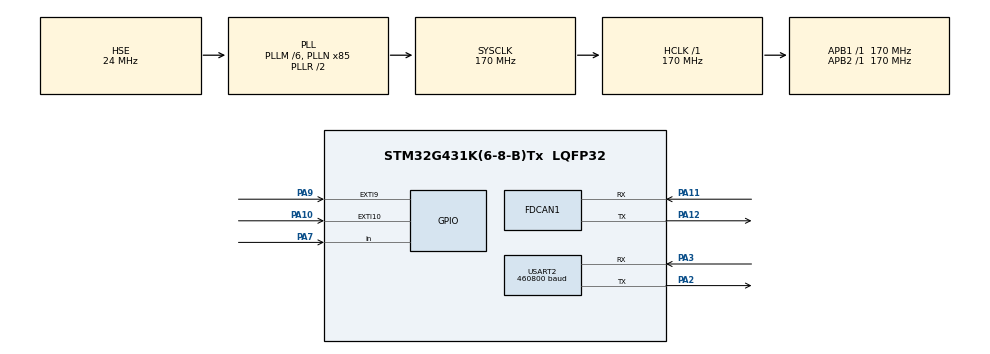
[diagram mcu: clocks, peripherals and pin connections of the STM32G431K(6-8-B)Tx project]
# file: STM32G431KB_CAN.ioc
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Dma.Request0=USART2_RX
Dma.Request1=USART2_TX
Dma.USART2_RX.0.Direction=DMA_PERIPH_TO_MEMORY
Dma.USART2_RX.0.EventEnable=DISABLE
Dma.USART2_RX.0.Instance=DMA1_Channel1
Dma.USART2_RX.0.MemDataAlignment=DMA_MDATAALIGN_BYTE
Dma.USART2_RX.0.MemInc=DMA_MINC_ENABLE
Dma.USART2_RX.0.Mode=DMA_CIRCULAR
Dma.USART2_RX.0.PeriphDataAlignment=DMA_PDATAALIGN_BYTE
Dma.USART2_RX.0.PeriphInc=DMA_PINC_DISABLE
Dma.USART2_RX.0.Polarity=HAL_DMAMUX_REQ_GEN_RISING
Dma.USART2_RX.0.Priority=DMA_PRIORITY_HIGH
Dma.USART2_RX.0.RequestNumber=1
Dma.USART2_RX.0.SignalID=NONE
Dma.USART2_RX.0.SyncEnable=DISABLE
Dma.USART2_RX.0.SyncPolarity=HAL_DMAMUX_SYNC_NO_EVENT
Dma.USART2_RX.0.SyncRequestNumber=1
Dma.USART2_RX.0.SyncSignalID=NONE
Dma.USART2_TX.1.Direction=DMA_MEMORY_TO_PERIPH
Dma.USART2_TX.1.EventEnable=DISABLE
Dma.USART2_TX.1.Instance=DMA1_Channel2
Dma.USART2_TX.1.MemDataAlignment=DMA_MDATAALIGN_BYTE
Dma.USART2_TX.1.MemInc=DMA_MINC_ENABLE
Dma.USART2_TX.1.Mode=DMA_NORMAL
Dma.USART2_TX.1.PeriphDataAlignment=DMA_PDATAALIGN_BYTE
Dma.USART2_TX.1.PeriphInc=DMA_PINC_DISABLE
Dma.USART2_TX.1.Polarity=HAL_DMAMUX_REQ_GEN_RISING
Dma.USART2_TX.1.Priority=DMA_PRIORITY_LOW
Dma.USART2_TX.1.RequestNumber=1
Dma.USART2_TX.1.SignalID=NONE
Dma.USART2_TX.1.SyncEnable=DISABLE
Dma.USART2_TX.1.SyncPolarity=HAL_DMAMUX_SYNC_NO_EVENT
Dma.USART2_TX.1.SyncRequestNumber=1
Dma.USART2_TX.1.SyncSignalID=NONE
FDCAN1.AutoRetransmission=ENABLE
FDCAN1.CalculateBaudRateNominal=999999
FDCAN1.CalculateTimeQuantumNominal=58.82352941176471
FDCAN1.DataTimeSeg1=1
FDCAN1.DataTimeSeg2=1
FDCAN1.NominalPrescaler=10
FDCAN1.NominalTimeSeg1=14
FDCAN1.StdFiltersNbr=28
FDCAN1.TxFifoQueueMode=FDCAN_TX_FIFO_OPERATION
Mcu.Family=STM32G4
Mcu.Name=STM32G431K(6-8-B)Tx
Mcu.Package=LQFP32
NVIC.DMA1_Channel1_IRQn=true\:2\:0\:true\:false\:true\:false\:true\:true
NVIC.DMA1_Channel2_IRQn=true\:2\:0\:true\:false\:true\:false\:true\:true
NVIC.EXTI15_10_IRQn=true\:3\:0\:true\:false\:true\:true\:true\:true
NVIC.EXTI9_5_IRQn=true\:3\:0\:true\:false\:true\:true\:true\:true
NVIC.FDCAN1_IT0_IRQn=true\:1\:0\:true\:false\:true\:true\:true\:true
NVIC.FDCAN1_IT1_IRQn=true\:1\:0\:true\:false\:true\:true\:true\:true
NVIC.FLASH_IRQn=true\:0\:0\:false\:false\:true\:true\:true\:true
NVIC.FPU_IRQn=true\:5\:0\:true\:false\:true\:true\:false\:true
NVIC.PriorityGroup=NVIC_PRIORITYGROUP_4
NVIC.RCC_IRQn=true\:0\:0\:false\:false\:true\:true\:false\:true
NVIC.USART2_IRQn=true\:2\:0\:true\:false\:true\:true\:true\:true
PA10.GPIO_ModeDefaultEXTI=GPIO_MODE_IT_FALLING
PA10.GPIO_PuPd=GPIO_PULLUP
PA10.Signal=GPXTI10
PA11.GPIO_PuPd=GPIO_PULLUP
PA11.GPIO_Speed=GPIO_SPEED_FREQ_HIGH
PA11.Mode=FDCAN_Activate
PA11.Signal=FDCAN1_RX
PA12.GPIO_PuPd=GPIO_PULLUP
PA12.GPIO_Speed=GPIO_SPEED_FREQ_HIGH
PA12.Mode=FDCAN_Activate
PA12.Signal=FDCAN1_TX
PA13.Mode=Serial_Wire
PA13.Signal=SYS_JTMS-SWDIO
PA14.Mode=Serial_Wire
PA14.Signal=SYS_JTCK-SWCLK
PA2.GPIO_Speed=GPIO_SPEED_FREQ_LOW
PA2.Mode=Asynchronous
PA2.Signal=USART2_TX
PA3.GPIO_PuPd=GPIO_PULLUP
PA3.GPIO_Speed=GPIO_SPEED_FREQ_HIGH
PA3.Mode=Asynchronous
PA3.Signal=USART2_RX
PA7.GPIO_PuPd=GPIO_PULLUP
PA7.Signal=GPIO_Input
PA9.GPIO_ModeDefaultEXTI=GPIO_MODE_IT_FALLING
PA9.GPIO_PuPd=GPIO_PULLUP
PA9.Signal=GPXTI9
PF0-OSC_IN.Mode=HSE-External-Oscillator
PF0-OSC_IN.Signal=RCC_OSC_IN
PF1-OSC_OUT.Mode=HSE-External-Oscillator
PF1-OSC_OUT.Signal=RCC_OSC_OUT
ProjectManager.HeapSize=0x600
ProjectManager.StackSize=0x900
ProjectManager.TargetToolchain=EWARM V8.50
RCC.ADC12Freq_Value=170000000
RCC.AHBFreq_Value=170000000
RCC.APB1Freq_Value=170000000
RCC.APB1TimFreq_Value=170000000
RCC.APB2Freq_Value=170000000
RCC.APB2TimFreq_Value=170000000
RCC.CortexFreq_Value=170000000
RCC.DATA_CACHE_ENABLE=0
RCC.EXTERNAL_CLOCK_VALUE=12288000
RCC.EnbaleCSS=true
RCC.HCLKFreq_Value=170000000
RCC.HSE_VALUE=24000000
RCC.HSI48_VALUE=48000000
RCC.HSI_VALUE=16000000
RCC.LSE_VALUE=32768
RCC.PLLM=RCC_PLLM_DIV6
RCC.PLLN=85
RCC.PLLSourceVirtual=RCC_PLLSOURCE_HSE
RCC.PREFETCH_ENABLE=1
RCC.SYSCLKFreq_VALUE=170000000
RCC.SYSCLKSource=RCC_SYSCLKSOURCE_PLLCLK
RCC.USBFreq_Value=170000000
RCC.VCOOutputFreq_Value=340000000
USART2.BaudRate=460800
USART2.FIFOMode=FIFOMODE_ENABLE
USART2.RXFIFOThreshold=RXFIFO_THRESHOLD_FULL
USART2.VirtualMode-Asynchronous=VM_ASYNC
VP_SYS_VS_DBSignals.Mode=DisableDeadBatterySignals
board=custom

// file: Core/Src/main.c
/* USER CODE BEGIN Header */
/**
******************************************************************************
* @file           : main.c
* @brief          : Main program body
******************************************************************************
* @attention
*
* Copyright (c) 2023 STMicroelectronics.
* All rights reserved.
*
* This software is licensed under terms that can be found in the LICENSE file
* in the root directory of this software component.
* If no LICENSE file comes with this software, it is provided AS-IS.
*
******************************************************************************
*/
/* USER CODE END Header */
#include "main.h"
#include "dma.h"
#include "fdcan.h"
#include "usart.h"
#include "gpio.h"

/* USER CODE BEGIN Includes */
#include "serial.h"
#include "utility.h"
//#include "CO_app_STM32.h"	// CANOpen STM32, route = C:\Users\jaesung\MRAS\GitHub\STM32\CANopenNode\CanOpenSTM32-master\CANopenNode_STM32
/* USER CODE END Includes */

/* USER CODE BEGIN PV */
uint8_t PDO_id_cnt			= 0;
uint8_t node_id;
int16_t sine_val		      	= 0;
Prot_info_t prot_info;

/* USER CODE END PV */

void SystemClock_Config(void);
/* USER CODE BEGIN PFP */
void setup(void);
void loop_sync(void);
void loop_async(void);
int16_t func_sin(uint32_t freq);
//void I2C_DMA_COMM();

double gear_ratio[4] 	= {-96.875, 96.875, 48.82, -48.82};

double period			= 2000.0;
double amp				= 50.0;
double gear_efficiency[4] 	= {1.05, 1.05, 1.1, 1.1};
double trq_offset[4]    	= {1.0, 1.0, 1.0, 1.0};
//double trq_offset[4]	= {0.0, 0.0, 0.0, 0.0};
double tp_degree[2]           = {0, 0};

bool UART_FLAG		 	= false;
bool QS_flag			= false;
bool NMT_FLAG			= true;
bool DS_FLAG			= false;
bool STATUS_FLAG		      = false;
bool SET_ANGLE_ZERO_FLAG 	= false;
bool ANGLE_FLAG			= false;
bool CLEAR_ERROR_FLAG		= false;
bool GET_SDO_FLAG			= false;
bool SET_SDO_FLAG			= false;
bool I2C_TRQ_FLAG			= false;
bool ERROR_FLAG			= false;
uint8_t I2C_FLAG			= false;

float theta_temp[2] = {0, }, torque_temp[2] = {0, }, coord_temp1[2] = {0, };

GPIO_PinState pin_state;
GPIO_PinState NMT_pin;
GPIO_PinState DS_pin;
uint32_t freq_cnt			= 0;
uint32_t tick 			= 0;	// async timer tick
uint8_t timer			= 0;	// async period

uint8_t id_temp 			= 0;
uint8_t length_temp 		= 0;
Obj_dict_t object 		= DEFAULT;
uint16_t object_sub 		= 0x00;
int32_t data_temp 		= 0;

NMT_state_t	NMT_state		= PRE;
DS_state_t	DS_state		= DV;

uint8_t txfifoemptycheck 	= 0;
uint8_t id_sum		 	= 0;
uint8_t id_cnt			= 0;
uint8_t status			= 0;

uint8_t EPOS4_CTRL_PERIOD	= 6; // 7ms
float error_res[2]		= {0.0, };

//////////////////////////////////////// I2C sensor variables
//uint8_t data1[6] = {0, };
////uint8_t data2[6] = {0, };
//uint8_t tx_buf1[6] = {(uint16_t)0x3d, };
//uint8_t tx_buf2[6] = {(uint16_t)0x3d, };
//uint16_t addr1 = 0x50 << 1;
//uint16_t addr2 = 0x51 << 1;
//typedef struct sense{
//  float roll;
//  float pitch;
//  float yaw;
//} Sen;?
//Sen sen1, sen2;
//bool state;
//uint32_t start_time;
//uint32_t time_interval;
////////////////////////////////////////

/* USER CODE END PFP */

/* USER CODE BEGIN 0 */

/* Timer interrupt function executes every 1 ms */

/* USER CODE END 0 */

int main(void)
{

  /* MCU Configuration--------------------------------------------------------*/

  /* Reset of all peripherals, Initializes the Flash interface and the Systick. */
  HAL_Init();

  /* Configure the system clock */
  SystemClock_Config();

  /* Initialize all configured peripherals */
  MX_GPIO_Init();
  MX_DMA_Init();
  MX_FDCAN1_Init();
  MX_USART2_UART_Init();

  /* Infinite loop */
  /* USER CODE BEGIN WHILE */
   setup();
   serial_print(&vcp, "s;");
   while (1)
   {

	loop_async();
    /* USER CODE END WHILE */

   }
}

void SystemClock_Config(void)
{
  RCC_OscInitTypeDef RCC_OscInitStruct = {0};
  RCC_ClkInitTypeDef RCC_ClkInitStruct = {0};

  /** Configure the main internal regulator output voltage
  */
  HAL_PWREx_ControlVoltageScaling(PWR_REGULATOR_VOLTAGE_SCALE1_BOOST);

  /** Initializes the RCC Oscillators according to the specified parameters
  * in the RCC_OscInitTypeDef structure.
  */
  RCC_OscInitStruct.OscillatorType = RCC_OSCILLATORTYPE_HSE;
  RCC_OscInitStruct.HSEState = RCC_HSE_ON;
  RCC_OscInitStruct.PLL.PLLState = RCC_PLL_ON;
  RCC_OscInitStruct.PLL.PLLSource = RCC_PLLSOURCE_HSE;
  RCC_OscInitStruct.PLL.PLLM = RCC_PLLM_DIV6;
  RCC_OscInitStruct.PLL.PLLN = 85;
  RCC_OscInitStruct.PLL.PLLP = RCC_PLLP_DIV2;
  RCC_OscInitStruct.PLL.PLLQ = RCC_PLLQ_DIV2;
  RCC_OscInitStruct.PLL.PLLR = RCC_PLLR_DIV2;
  if (HAL_RCC_OscConfig(&RCC_OscInitStruct) != HAL_OK)
  {
    Error_Handler();
  }

  /** Initializes the CPU, AHB and APB buses clocks
  */
  RCC_ClkInitStruct.ClockType = RCC_CLOCKTYPE_HCLK|RCC_CLOCKTYPE_SYSCLK
                              |RCC_CLOCKTYPE_PCLK1|RCC_CLOCKTYPE_PCLK2;
  RCC_ClkInitStruct.SYSCLKSource = RCC_SYSCLKSOURCE_PLLCLK;
  RCC_ClkInitStruct.AHBCLKDivider = RCC_SYSCLK_DIV1;
  RCC_ClkInitStruct.APB1CLKDivider = RCC_HCLK_DIV1;
  RCC_ClkInitStruct.APB2CLKDivider = RCC_HCLK_DIV1;

  if (HAL_RCC_ClockConfig(&RCC_ClkInitStruct, FLASH_LATENCY_4) != HAL_OK)
  {
    Error_Handler();
  }

  /** Enables the Clock Security System
  */
  HAL_RCC_EnableCSS();
}

/* USER CODE BEGIN 4 */
void setup(void)
{
   __disable_irq();

   /* USART for Virtual com port */
   vcp.init(&vcp);

   __HAL_UART_ENABLE_IT(vcp.huart, UART_IT_ERR);

   if (HAL_UART_Receive_DMA(vcp.huart, (uint8_t *)vcp.rx_buffer, UART_RX_BUFF_SIZE) != HAL_OK)		//UART_RX_BUFF_SIZE = 256, TX = 128
   {
	Error_Handler();
   }
   if (HAL_FDCAN_Start(hcan.module) != HAL_OK)
   {
	Error_Handler();
   }
   if (HAL_FDCAN_ActivateNotification(hcan.module, hcan.activeITs, 0) != HAL_OK)
   {
	Error_Handler();
   }
   if (HAL_FDCAN_ActivateNotification(&hfdcan1, FDCAN_IT_TX_FIFO_EMPTY|FDCAN_IT_TX_COMPLETE, FDCAN_TX_BUFFER0 | FDCAN_TX_BUFFER1 | FDCAN_TX_BUFFER2) != HAL_OK)
   {
	Error_Handler();
   }
   hcan.txmsg.header.IdType = FDCAN_STANDARD_ID;						// FDCAN_STANDARD_ID, FDCAN_EXTENDED_ID
   hcan.txmsg.header.TxFrameType = FDCAN_DATA_FRAME;					// FDCAN_DATA_FRAME, FDCAN_REMOTE_FRAME(FDCAN High Priority MEssage Storage)
   hcan.txmsg.header.DataLength = FDCAN_DLC_BYTES_8;					// FDCAN_DLC_BYTES_0~64: FDCAN Data Length Code
   hcan.txmsg.header.ErrorStateIndicator = FDCAN_ESI_ACTIVE;			// Transmitting node is error active, FDCAN_ESI_PASSIVE: Transmitting node is error passive
   hcan.txmsg.header.BitRateSwitch = FDCAN_BRS_OFF;					// Tx frame w/ or w/o bit rate switching
   hcan.txmsg.header.FDFormat = FDCAN_CLASSIC_CAN;					// Tx frame classic or FD
   hcan.txmsg.header.TxEventFifoControl = FDCAN_NO_TX_EVENTS;		// store or not store Tx events
   hcan.txmsg.header.MessageMarker = 0;								// message marker copied into Tx Event FIFO element 0 ~ 0xFF
   //  hcan.txmsg.header.Identifier;
   //	hcan.txmsg.header.IdType = FDCAN_STANDARD_ID;				// or FDCAN_EXTENDED_ID
   //	hcan.txmsg.header.TxFrameType = FDCAN_DATA_FRAME;			// or FDCAN_REMOTE_FRAME
   //	hcan.txmsg.header.DataLength;								// 8 bytes
   //	hcan.txmsg.header.ErrorStateIndicator = FDCAN_ESI_ACTIVE; 	// or FDCAN_ESI_PASSIVE,역할?
   //	hcan.txmsg.header.BitRateSwitch = FDCAN_BRS_OFF;			// FDCAN에서만 BRS 가능 https://www.datajob.com/en/definition/101/bit-rate-switch-(brs)
   //	hcan.txmsg.header.FDFormat = FDCAN_CLASSIC_CAN;				/* NO CAN-FD */
   //	hcan.txmsg.header.TxEventFifoControl = FDCAN_NO_TX_EVENTS;	// or FDCAN_STORE_TX_EVENTS, 역할?
   //	hcan.txmsg.header.MessageMarker = 0;						// Specifies the message marker to be copied into Tx Event FIFO element\
   for identification of Tx message status. This parameter must be a number between 0 and 0xFF 역할?
	__enable_irq();		// iar enable interrupt
   INIT_CAN();
   for(int i=0;i<4;i++){
	if(motor[i].Statusword != 0x40)	error_res[0] = 6;
   }
   motor[0].Error_code[(motor[0].error_index+5)%5] = 0x01;
   pin_state = HAL_GPIO_ReadPin(GPIOA, GPIO_PIN_7);
}

/**
참고: serial.h	serial.c	uart.h	fdcan.h
'vcp.rx_buffer' parsing function
rx buff size 256
(parsing되어 저장될 곳)
ahrsRad[0]: right arm roll
ahrsRad[1]: right arm pitch
ahrsRad[3]: left arm roll
ahrsRad[4]: left arm pitch
trq on: stretch_btn true

'vcp.tx_buffer' data
tx buff size 128
(보낼 data)
NMT_state
NMT_state_t
OP 0x01
PRE 0x80
...
DS_state
DS_state_t
DV	0x00
SD	0x06
EN 	0x0F
...
motor[0].Statusword ~ motor[3].Statusword (uint16_t)
sprintf 또는 memcpy 사용

START BIT(0x02) END BIT (0x03 or 전체 데이터 길이)
**/

bool stretch_btn_l	= false;
bool stretch_btn_r	= false;
double ahrsDeg[4]	= {0, };
double ahrsRad[5]	= {0, };
void parse_vcp(SerialHandler *h)
{
   /* h->tx_buffer parsing */
   // CAN1_x,CAN1_y,CAN2_x,CAN2_y,trigger\r
   static double deg2rad = 0.017453;
   for(int i=0;i<4;i++){
	ahrsDeg[i] = strtof(h->parsing.toks[i], NULL);
	ahrsDeg[i] /= 100.0;
   }
   ahrsRad[0] = ahrsDeg[0] * deg2rad;
   ahrsRad[1] = ahrsDeg[1] * deg2rad;
   ahrsRad[3] = ahrsDeg[2] * deg2rad;
   ahrsRad[4] = ahrsDeg[3] * deg2rad;
   stretch_btn_l = atoi(h->parsing.toks[4]);
   stretch_btn_r = atoi(h->parsing.toks[5]);
}
int32_t tp[2] = {0, };
uint32_t CAN_cnt = 0;		//	PDO timer
uint32_t UART_cnt = 0;		//	UART timer
void loop_sync(void)
{
   static double angles_old[2] = {0, 0};
   UART_cnt++;
   CAN_cnt++;
   //  sine_val = func_sin(freq_cnt ++);
   status = Check_status();
   if(status == 0)
   {
	NMT_state	= PRE;
	DS_state	= DV;
   }
   //  else if(status == 1)
   //  {
   //	if(CAN_cnt > 100)	STATUS_FLAG = true;
   //  }
   else if(status != 2)
   {
	if( CAN_cnt >= EPOS4_CTRL_PERIOD )
	{
         id_cnt = 0;
         id_sum = 0;
         SYNC_FRAME();
         CAN_cnt = 0;
	}
	if(id_cnt == 4)
	{
         if(id_sum == 6)
         {
		if(I2C_TRQ_FLAG)
		{
               if(ahrsDeg[2] != 0 || ahrsDeg[3] != 0)
               {
			motor[0].angle = motor[0].angle - ahrsRad[1];
			motor[1].angle = motor[1].angle + ahrsRad[4];
			trq_offset[0] = arm_cos_f32(ahrsRad[0]-PI/2);	trq_offset[2] = arm_cos_f32(ahrsRad[0]-PI/2);
			trq_offset[1] = arm_cos_f32(ahrsRad[3]-PI/2);	trq_offset[3] = arm_cos_f32(ahrsRad[3]-PI/2);
			angles_old[0] = ahrsRad[3];
			angles_old[1] = ahrsRad[4];
               }else
               {
			motor[0].angle = motor[0].angle - ahrsRad[1];
			motor[1].angle = motor[1].angle + angles_old[1];
			trq_offset[0] = arm_cos_f32(ahrsRad[0]-PI/2);	trq_offset[2] = arm_cos_f32(ahrsRad[0]-PI/2);
			trq_offset[1] = arm_cos_f32(angles_old[0]-PI/2);trq_offset[3] = arm_cos_f32(angles_old[0]-PI/2);
               }
		}
            TRQ_Calc();
		//	POS_Calc();
            //    TRQ_Calc_2();
            //POS_Calc_2();
		//	TRQ_Calc_3();
		for(int i=1;i<5;i++){SET_PDO(i);}	id_cnt = 0; id_sum = 0;
         }else
         {
		error_res[0] = 1;
		id_cnt = 0;
		id_sum = 0;
         }
	}
   }
}
void loop_async(void)
{
   tick = HAL_GetTick();
   vcp.run(&vcp);
   //  UART_FLAG = CAN_cnt % 1000 ? false : true; // 1~5초 사이 보내지게
   if(UART_cnt >= 50)
   {
	UART_FLAG = true;
	UART_cnt = 0;
   }else
   {
	UART_FLAG = false;
   }
   if(UART_FLAG)
   {
	//sprintf((char *)vcp.tx_buffer, "%d\n\r", idx++);
	//serial_write(&vcp, strlen(vcp.tx_buffer)*sizeof(char)); UART_FLAG = false;

	sprintf((char *)vcp.tx_buffer, "\n%d,%d,%d,%d,%d,%d,%d,%d,%d,%d\r",
              NMT_state, DS_state,
              motor[0].Statusword, motor[1].Statusword, motor[2].Statusword, motor[3].Statusword,
              motor[0].Error_code[(motor[0].error_index+4)%5],
              motor[1].Error_code[(motor[1].error_index+4)%5],
              motor[2].Error_code[(motor[2].error_index+4)%5],
              motor[3].Error_code[(motor[3].error_index+4)%5]);
	//UART_FLAG = false;
      //	serial_write(&vcp, strlen(vcp.tx_buffer)*sizeof(char));
   }
   if(NMT_FLAG){	NMT_TRANS(NMT_state);	NMT_FLAG = false;	STATUS_FLAG = true;}
   if(DS_FLAG){	for(int i=1;i<5;i++){DS_TRANS(i, DS_state);}	DS_FLAG = false;	}//STATUS_FLAG = true;}
   if(QS_flag){	for(int i=1;i<5;i++){DS_TRANS(i, QS);}			QS_flag	= false;}
   if(ANGLE_FLAG){	for(int i=1;i<5;i++){GET_Angle(i);}	ANGLE_FLAG = false;}
   if(CLEAR_ERROR_FLAG){		for(int i=1;i<5;i++){Clear_Device_Errors(i);}	CLEAR_ERROR_FLAG = false;	STATUS_FLAG = true;}
   if(SET_ANGLE_ZERO_FLAG){	for(int i=1;i<5;i++){GET_Angle(i);	motor[i-1].Position_zero = motor[i-1].Position_actual;}	tp[0] = motor[0].Position_zero; tp[1] = motor[2].Position_zero; SET_ANGLE_ZERO_FLAG = false;}
   if(GET_SDO_FLAG){	GET_SDO(id_temp, object, object_sub);	GET_SDO_FLAG = false;}
   if(SET_SDO_FLAG){	SET_SDO(id_temp, length_temp, object, object_sub, data_temp);	SET_SDO_FLAG = false;}
   if(STATUS_FLAG){	for(int i=1;i<5;i++){READ_STATUS(i);}	STATUS_FLAG = false;}
   //  if(I2C_FLAG){	I2C_DMA_COMM();}
   timer = HAL_GetTick() - tick;
}
int16_t func_sin(uint32_t freq)
{
   if(freq <= period/2){
	sine_val = (int16_t)(amp);
   }else if(freq <= period){
	sine_val = (int16_t)(-amp);
   }else{
	freq = 0;
   }
   return (int16_t)(amp*arm_sin_f32(2.0*PI*(double)freq/period)); // 주기 0.5초
}
void HAL_FDCAN_TxFifoEmptyCallback(FDCAN_HandleTypeDef *hfdcan)
{
   txfifoemptycheck ++;
}
void HAL_FDCAN_RxFifo0Callback(FDCAN_HandleTypeDef *hfdcan, uint32_t RxFifo0ITs)
{
   if(__HAL_FDCAN_GET_FLAG(hfdcan, FDCAN_FLAG_RX_FIFO0_MESSAGE_LOST)){
	__HAL_FDCAN_CLEAR_FLAG(hfdcan, FDCAN_FLAG_RX_FIFO0_MESSAGE_LOST);
   }
   if ((hfdcan->Instance == hcan.module->Instance) && ((RxFifo0ITs & hcan.activeITs) != 0))
   {
	if (HAL_FDCAN_GetRxMessage(hcan.module, hcan.rxloc, &hcan.rxmsg.header, hcan.rxmsg.data) != HAL_OK)
	{
         // hcan.rxloc = FDCAN_RX_FIFO0(0x00000040U)
         // hcan.rxmsg.header.IdType
         // hcan.rxmsg.header.RxFrame
         // hcan.rxmsg.header.ErrorStateIndicator
         // hcan.rxmsg.header.DataLength
         // hcan.rxmsg.header.data
         error_res[0] = 2;
         Error_Handler();
	}else{
         node_id = (hcan.rxmsg.header.Identifier & 0x7F) - 1;
         prot_info= (Prot_info_t)(hcan.rxmsg.header.Identifier & 0x780);
         if(hcan.rxmsg.data[0] == 0x80){
		// ABORT SDO PROTOCOL
         }
         switch(prot_info){
         case SDO:
		motor[node_id].parsing_SDO(&motor[node_id], node_id);
		break;
         case PDO1:
		id_cnt ++;
		id_sum = id_sum + node_id;
		if(motor[node_id].parsing_PDO(&motor[node_id], node_id) != 1){
               QS_flag = true;
               NMT_state = PRE;
               NMT_FLAG = true;
               error_res[0] = node_id;
               //READ_STATUS(node_id + 1);
		}
		break;
		// case PDO2:
         }
	}
	if(HAL_FDCAN_GetRxFifoFillLevel(&hfdcan1, FDCAN_RX_FIFO0) >= 2){
         while(HAL_FDCAN_GetRxMessage(hcan.module, hcan.rxloc, &hcan.rxmsg.header, hcan.rxmsg.data) != HAL_OK);
	}
   }
}
void HAL_SYSTICK_Callback(void)	// 1mhz timer
{
   loop_sync();
}
bool SET_ZERO_BTN = false;
void HAL_GPIO_EXTI_Callback(uint16_t GPIO_Pin)
{
   if(GPIO_Pin == GPIO_PIN_9 && HAL_GPIO_ReadPin(GPIOA, GPIO_PIN_9) == GPIO_PIN_RESET)
   {
	status = Check_status();
	if(status == 2)	NMT_state = OP;		//  Pre Operational	-> Operational
	else			NMT_state = PRE;	//	Operational		-> Pre Operational

	/** (to be fixed) PRE -> OP OK, OP -> PRE Transition Not working **/
	NMT_FLAG = true;
   }else if(GPIO_Pin == GPIO_PIN_10 && HAL_GPIO_ReadPin(GPIOA, GPIO_PIN_10) == GPIO_PIN_RESET)
   {
	if(!SET_ZERO_BTN)
	{
         SET_ANGLE_ZERO_FLAG = true;
         SET_ZERO_BTN = true;
         motor[0].Error_code[(motor[0].error_index)%5] = 0x00;
	}
	else
	{
         status = Check_status();
         if(status == 3)		DS_state = SD;	// if PDO + DV
         else if(status == 4)	DS_state = EN;	// if PDO + SD
         else if(status == 5)	DS_state = DV;	// if PDO + EN
         else				DS_state = DV;
         DS_FLAG = true;
	}
   }
}
uint8_t tx_buff[1] = {1};
uint8_t rx_buff[12] = {0, };
uint16_t mem_addr = 0x3d;
double angle_i2c[12] = {0, };
/*void I2C_DMA_COMM()
//{
//  static double coef1 = 5.493164 / 1000;
//  static double coef2 = 0.0958738 / 1000;
//  do
//  {
//	if (HAL_I2C_Mem_Write_DMA(&hi2c1, (uint16_t)(0x51 << 1), (uint16_t)mem_addr, 1, tx_buff, 1) != HAL_OK)
//	{
//	  Error_Handler();
//	}
//	while (HAL_I2C_GetState(&hi2c1) != HAL_I2C_STATE_READY)
//	{
//	}
//
//  }
//  while (HAL_I2C_GetError(&hi2c1) == HAL_I2C_ERROR_AF);
//  HAL_Delay(3);
//  do
//  {
//	if (HAL_I2C_Mem_Read_DMA(&hi2c1, (uint16_t)(0x51 << 1), (uint16_t)mem_addr, 1, &rx_buff[0], 6) != HAL_OK)
//	{
//	  Error_Handler();
//	}
//	while (HAL_I2C_GetState(&hi2c1) != HAL_I2C_STATE_READY)
//	{
//	}
//  }
//  while (HAL_I2C_GetError(&hi2c1) == HAL_I2C_ERROR_AF);
//
//  HAL_Delay(3);
//
//  do
//  {
//	if (HAL_I2C_Mem_Write_DMA(&hi2c1, (uint16_t)(0x53 << 1), (uint16_t)mem_addr, 1, tx_buff, 1) != HAL_OK)
//	{
//	  Error_Handler();
//	}
//	while (HAL_I2C_GetState(&hi2c1) != HAL_I2C_STATE_READY)
//	{
//	}
//  }
//  while (HAL_I2C_GetError(&hi2c1) == HAL_I2C_ERROR_AF);
//  HAL_Delay(3);
//  do
//  {
//	if (HAL_I2C_Mem_Read_DMA(&hi2c1, (uint16_t)(0x53 << 1), (uint16_t)mem_addr, 1, &rx_buff[6], 6) != HAL_OK)
//	{
//	  Error_Handler();
//	}
//	while (HAL_I2C_GetState(&hi2c1) != HAL_I2C_STATE_READY)
//	{
//	}
//  }
//  while (HAL_I2C_GetError(&hi2c1) == HAL_I2C_ERROR_AF);
//  HAL_Delay(3);
//
//  angle_i2c[0] = ((int16_t)(rx_buff[0] | rx_buff[1] << 8)) * coef1;
//  angle_i2c[1] = ((int16_t)(rx_buff[2] | rx_buff[3] << 8)) * coef1;
//  angle_i2c[2] = ((int16_t)(rx_buff[4] | rx_buff[5] << 8)) * coef1;
//  angle_i2c[3] = ((int16_t)(rx_buff[6] | rx_buff[7] << 8)) * coef1;
//  angle_i2c[4] = ((int16_t)(rx_buff[8] | rx_buff[9] << 8)) * coef1;
//  angle_i2c[5] = ((int16_t)(rx_buff[10] | rx_buff[11] << 8)) * coef1;
//
//
//  ahrsRad[0] = ((int16_t)(rx_buff[0] | rx_buff[1] << 8)) * coef2;
//  ahrsRad[1] = ((int16_t)(rx_buff[2] | rx_buff[3] << 8)) * coef2;
//  ahrsRad[2] = ((int16_t)(rx_buff[4] | rx_buff[5] << 8)) * coef2;
//  ahrsRad[3] = ((int16_t)(rx_buff[6] | rx_buff[7] << 8)) * coef2;
//  ahrsRad[4] = ((int16_t)(rx_buff[8] | rx_buff[9] << 8)) * coef2;
//  ahrsRad[5] = ((int16_t)(rx_buff[10] | rx_buff[11] << 8)) * coef2;
//
//}
//void HAL_TIM_PeriodElapsedCallback(TIM_HandleTypeDef *htim){ //1khz timer
//
//}
////////////////////////////////////
//void HAL_I2C_MemTxCpltCallback(I2C_HandleTypeDef *hi2c)
//{
//  if (hi2c == &hi2c1)
//  {
//	if (!state) {
//	  HAL_I2C_Mem_Read_IT(&hi2c1, addr1, (uint16_t)0x3d, 1, data1, 6);
//	}
//	else{
//	  HAL_I2C_Mem_Read_IT(&hi2c1, addr2, (uint16_t)0x3d, 1, data2, 6);
//	}
//  }
//}
//void HAL_I2C_MemRxCpltCallback(I2C_HandleTypeDef *hi2c)
//{
//  if (hi2c == &hi2c1)
//  {
//	if (!state) {
//	  sen1.roll = (float)(data1[0] | (data1[1] << 8)) / 32768 * 180;
//	  sen1.pitch = (float)(data1[2] | (data1[3] << 8)) / 32768 * 180;
//	  sen1.yaw = (float)(data1[4] | (data1[5] << 8)) / 32768 * 180;
//
//
//	  state = true;
//	  HAL_I2C_Mem_Write_IT(&hi2c1, addr2, (uint16_t)0x3d, (uint16_t)1, tx_buf1, (uint16_t)1);
//	}
//	else{
//	  sen2.roll = (float)(data1[0] | (data2[1] << 8)) / 32768 * 180;
//	  sen2.pitch = (float)(data1[2] | (data2[3] << 8)) / 32768 * 180;
//	  sen2.yaw = (float)(data1[4] | (data2[5] << 8)) / 32768 * 180;
//
//
//	  time_interval = HAL_GetTick() - start_time;
//
//
//	  start_time = HAL_GetTick();
//	  state = false;
//	  HAL_I2C_Mem_Write_IT(&hi2c1, addr1, (uint16_t)0x3d, (uint16_t)1, tx_buf2, (uint16_t)1);
//	}
//  }
//}
//void HAL_I2C_ErrorCallback(I2C_HandleTypeDef *hi2c)
//{
//  if (hi2c == &hi2c1)
//  {
//	state = false;
//	HAL_I2C_Mem_Write_IT(&hi2c1, addr1, (uint16_t)0x3d, (uint16_t)1, tx_buf2, (uint16_t)1);
//  }
//}
//////////////////////////////////////
*/
void HAL_UART_ErrorCallback(UART_HandleTypeDef *huart){
   serial_flush(&vcp, 1);
   __HAL_UART_CLEAR_FLAG(vcp.huart, UART_CLEAR_OREF|UART_CLEAR_IDLEF|UART_CLEAR_NEF);
   UART_cnt ++;
   HAL_UART_DMAResume(vcp.huart);
}
/* USER CODE END 4 */

void Error_Handler(void)
{
  /* USER CODE BEGIN Error_Handler_Debug */
   /* User can add his own implementation to report the HAL error return state */
   ERROR_FLAG = true;
   NMT_state = PRE;
   DS_state = SD;
   for(int i=1;i<5;i++){
	DS_TRANS(i, DS_state);
   }
   __disable_irq();
   while (1)
   {
   }
  /* USER CODE END Error_Handler_Debug */
}
